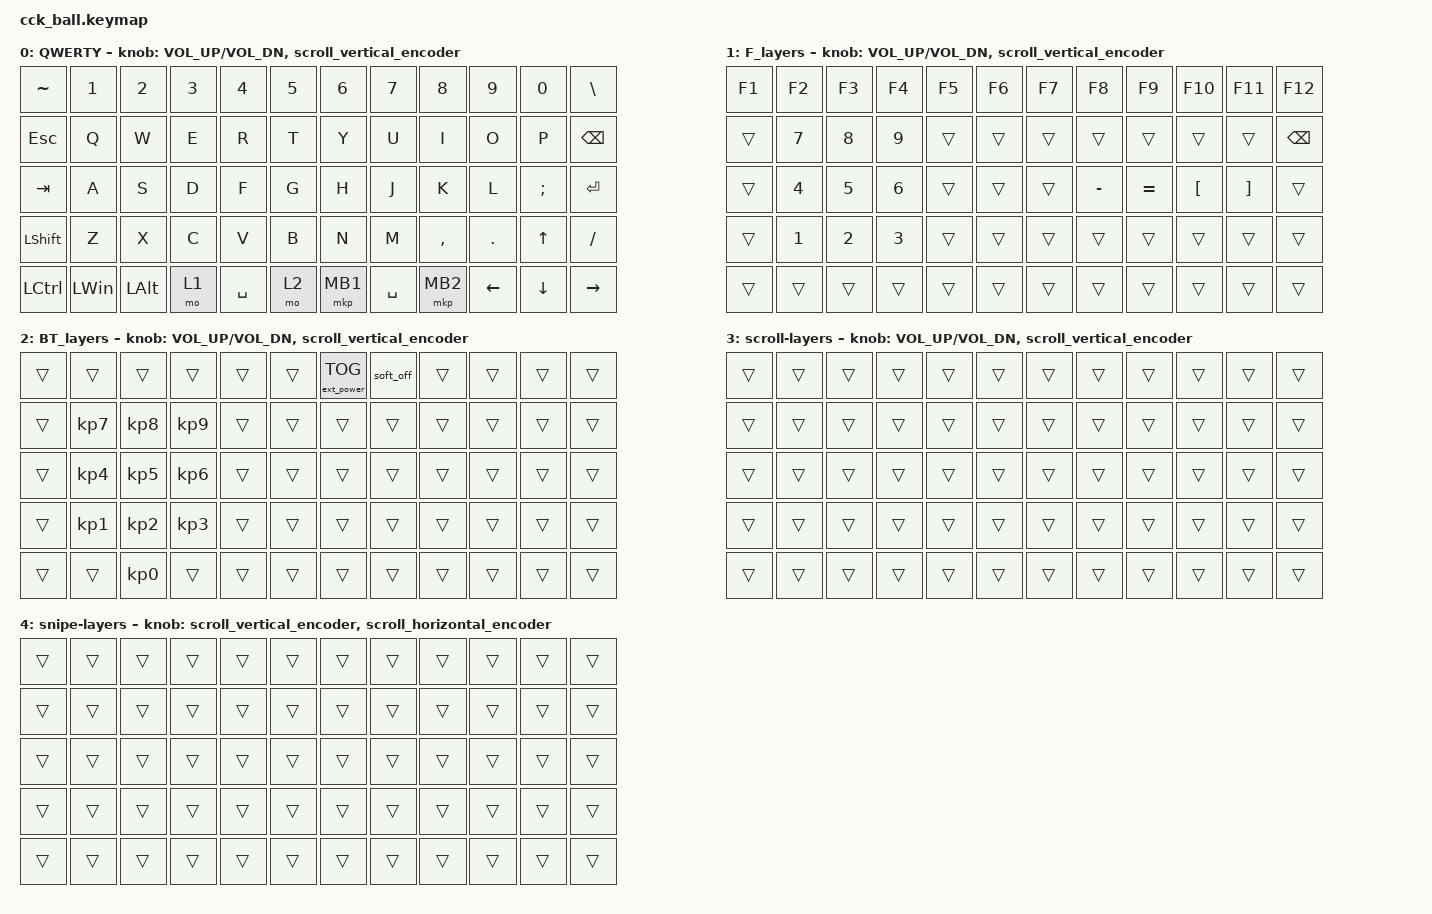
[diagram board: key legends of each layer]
#define ZMK_POINTING_DEFAULT_MOVE_VAL 1000 // 600
#define ZMK_POINTING_DEFAULT_SCRL_VAL 20   // 10

#include <input/processors.dtsi>
#include <zephyr/dt-bindings/input/input-event-codes.h>
#include <behaviors.dtsi>
#include <dt-bindings/zmk/ext_power.h>
#include <dt-bindings/zmk/keys.h>
#include <dt-bindings/zmk/pointing.h>

&mmv_input_listener { input-processors = <&zip_xy_scaler 2 1>; };

&msc_input_listener { input-processors = <&zip_scroll_scaler 2 1>; };

&msc {
    acceleration-exponent = <0>;      // 0
    time-to-max-speed-ms = <300>;       // 300
    delay-ms = <0>;                   // 0
};

&mmv {
    time-to-max-speed-ms = <500>;
    acceleration-exponent = <1>;
    trigger-period-ms = <16>;
};

&soft_off { hold-time-ms = <2000>; };

/ {
    // 上下滚动编码器行为

    scroll_vertical_encoder: scroll_vertical_encoder {
        compatible = "zmk,behavior-sensor-rotate";
        #sensor-binding-cells = <0>;
        bindings = <&msc SCRL_UP>, <&msc SCRL_DOWN>;

        tap-ms = <100>;
    };

    // 左右滚动编码器行为

    scroll_horizontal_encoder: scroll_horizontal_encoder {
        compatible = "zmk,behavior-sensor-rotate";
        #sensor-binding-cells = <0>;
        bindings = <&msc SCRL_LEFT>, <&msc SCRL_RIGHT>;

        tap-ms = <100>;
    };

    behaviors {
    };

    keymap {
        compatible = "zmk,keymap";

        QWERTY {
            bindings = <
&kp TILDE         &kp N1        &kp N2        &kp N3  &kp N4     &kp N5  &kp N6    &kp N7     &kp N8     &kp N9          &kp N0          &kp BACKSLASH
&kp ESCAPE        &kp Q         &kp W         &kp E   &kp R      &kp T   &kp Y     &kp U      &kp I      &kp O           &kp P           &kp BACKSPACE
&kp TAB           &kp A         &kp S         &kp D   &kp F      &kp G   &kp H     &kp J      &kp K      &kp L           &kp SEMI        &kp ENTER
&kp LEFT_SHIFT    &kp Z         &kp X         &kp C   &kp V      &kp B   &kp N     &kp M      &kp COMMA  &kp DOT         &kp UP_ARROW    &kp FSLH
&kp LEFT_CONTROL  &kp LEFT_WIN  &kp LEFT_ALT  &mo 1   &kp SPACE  &mo 2   &mkp MB1  &kp SPACE  &mkp MB2   &kp LEFT_ARROW  &kp DOWN_ARROW  &kp RIGHT_ARROW
            >;

            sensor-bindings =
                <&inc_dec_kp C_VOL_UP C_VOL_DN>,
                <&scroll_vertical_encoder>;
        };

        F_layers {
            bindings = <
&kp F1  &kp F2        &kp F3        &kp F4        &kp F5  &kp F6  &kp F7  &kp F8     &kp F9     &kp F10           &kp F11            &kp F12
&trans  &kp N7        &kp N8        &kp N9        &trans  &trans  &trans  &trans     &trans     &trans            &trans             &kp BACKSPACE
&trans  &kp NUMBER_4  &kp N5        &kp NUMBER_6  &trans  &trans  &trans  &kp MINUS  &kp EQUAL  &kp LEFT_BRACKET  &kp RIGHT_BRACKET  &trans
&trans  &kp NUMBER_1  &kp NUMBER_2  &kp NUMBER_3  &trans  &trans  &trans  &trans     &trans     &trans            &trans             &trans
&trans  &trans        &trans        &trans        &trans  &trans  &trans  &trans     &trans     &trans            &trans             &trans
            >;

            sensor-bindings =
                <&inc_dec_kp C_VOL_UP C_VOL_DN>,
                <&scroll_vertical_encoder>;
        };

        BT_layers {
            bindings = <
&trans  &trans           &trans           &trans           &trans  &trans  &ext_power EP_TOG  &soft_off  &trans  &trans  &trans  &trans
&trans  &kp KP_NUMBER_7  &kp KP_NUMBER_8  &kp KP_NUMBER_9  &trans  &trans  &trans             &trans     &trans  &trans  &trans  &trans
&trans  &kp KP_NUMBER_4  &kp KP_NUMBER_5  &kp KP_NUMBER_6  &trans  &trans  &trans             &trans     &trans  &trans  &trans  &trans
&trans  &kp KP_NUMBER_1  &kp KP_NUMBER_2  &kp KP_NUMBER_3  &trans  &trans  &trans             &trans     &trans  &trans  &trans  &trans
&trans  &trans           &kp KP_NUMBER_0  &trans           &trans  &trans  &trans             &trans     &trans  &trans  &trans  &trans
            >;

            sensor-bindings =
                <&inc_dec_kp C_VOL_UP C_VOL_DN>,
                <&scroll_vertical_encoder>;
        };

        scroll-layers {
            bindings = <
&trans  &trans  &trans  &trans  &trans  &trans  &trans  &trans  &trans  &trans  &trans  &trans
&trans  &trans  &trans  &trans  &trans  &trans  &trans  &trans  &trans  &trans  &trans  &trans
&trans  &trans  &trans  &trans  &trans  &trans  &trans  &trans  &trans  &trans  &trans  &trans
&trans  &trans  &trans  &trans  &trans  &trans  &trans  &trans  &trans  &trans  &trans  &trans
&trans  &trans  &trans  &trans  &trans  &trans  &trans  &trans  &trans  &trans  &trans  &trans
            >;

            sensor-bindings =
                <&inc_dec_kp C_VOL_UP C_VOL_DN>,
                <&scroll_vertical_encoder>;
        };

        snipe-layers {
            bindings = <
&trans  &trans  &trans  &trans  &trans  &trans  &trans  &trans  &trans  &trans  &trans  &trans
&trans  &trans  &trans  &trans  &trans  &trans  &trans  &trans  &trans  &trans  &trans  &trans
&trans  &trans  &trans  &trans  &trans  &trans  &trans  &trans  &trans  &trans  &trans  &trans
&trans  &trans  &trans  &trans  &trans  &trans  &trans  &trans  &trans  &trans  &trans  &trans
&trans  &trans  &trans  &trans  &trans  &trans  &trans  &trans  &trans  &trans  &trans  &trans
            >;

            sensor-bindings =
                <&scroll_vertical_encoder>,
                // 编码器1：上下滚动,,,,,,,
                <&scroll_horizontal_encoder>;

            // 编码器2：左右滚动
        };
    };
};
